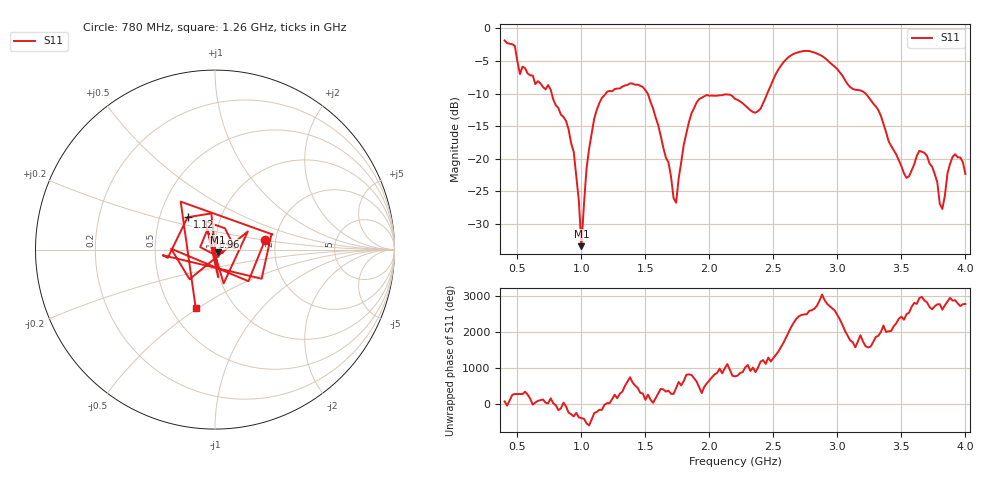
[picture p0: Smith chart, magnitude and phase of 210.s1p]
!Created with skrf (http://scikit-rf.org).
# Hz S RI R 50.0
!freq ReS11 ImS11
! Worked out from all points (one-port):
!   181 points, 400 MHz to 4 GHz, reference 50 ohm
!   lowest |S11| = -33.5 dB at 1 GHz (marker M1), VSWR 1.04, Z = 51.6 - j1.47 ohm
!   |S11| at or under -10 dB: 767.8 MHz to 1.19 GHz (422.5 MHz wide, 43.2 % of centre); 1.517 GHz to 2.452 GHz (935.2 MHz wide, 47.1 % of centre); 3.22 GHz to end of sweep
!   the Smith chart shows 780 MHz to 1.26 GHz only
!   S11 on the Smith chart (normalised r, x): 780 MHz: 1.76, +0.21; 960 MHz: 0.96, +0.14; 1.12 GHz: 0.69, +0.27; 1.26 GHz: 0.66, -0.49
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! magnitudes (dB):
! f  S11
! 400 MHz  -1.8
! 480 MHz  -2.7
! 520 MHz  -7.0
! 780 MHz  -10.9
! 860 MHz  -13.6
! 960 MHz  -22.7
! 1 GHz  -33.5
! 1.04 GHz  -21.5
! 1.12 GHz  -12.5
! 1.26 GHz  -9.3
! 1.3 GHz  -9.2
! 1.5 GHz  -9.5
! 1.68 GHz  -20.6
! 1.72 GHz  -26.1
! 1.74 GHz  -26.8
! 1.76 GHz  -23.0
! 1.9 GHz  -11.4
! 2.2 GHz  -10.8
! 2.38 GHz  -12.7
! 2.66 GHz  -3.9
! 2.88 GHz  -4.2
! 3.1 GHz  -9.0
! 3.32 GHz  -12.6
! 3.56 GHz  -22.7
! 3.68 GHz  -19.1
! 3.82 GHz  -27.7
! 3.9 GHz  -19.7
! 4 GHz  -22.4
